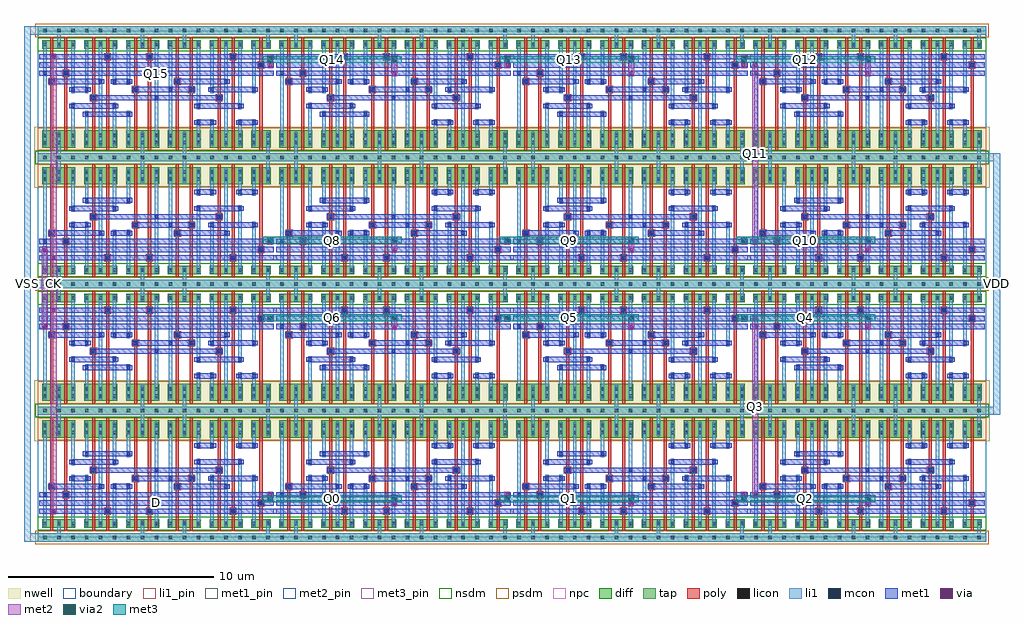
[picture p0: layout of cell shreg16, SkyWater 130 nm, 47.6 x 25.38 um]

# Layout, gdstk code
import gdstk
lib = gdstk.Library(unit=1e-6, precision=1e-09)
def R(c, l, rs):  # rectangles x0, y0, x1, y1
    for r in rs: c.add(gdstk.rectangle(r[:2], r[2:], *l))
def A(c, l, x, y, w, h, nx, ny, dx, dy):  # array of equal rectangles
    R(c, l, [(x+i*dx, y+j*dy, x+i*dx+w, y+j*dy+h) for i in range(nx) for j in range(ny)])
nwell = (64, 20)
diff = (65, 20)
tap = (65, 44)
poly = (66, 20)
licon = (66, 44)
li1_pin = (67, 16)
li1 = (67, 20)
mcon = (67, 44)
met1_pin = (68, 16)
met1 = (68, 20)
via = (68, 44)
met2_pin = (69, 16)
met2 = (69, 20)
via2 = (69, 44)
met3_pin = (70, 16)
met3 = (70, 20)
nsdm = (93, 44)
psdm = (94, 20)
npc = (95, 20)
boundary = (235, 4)

dff = lib.new_cell('dff')
R(dff, nwell, [(-0.18,4.685,11.74,6.565)])
A(dff, diff, 0.215, 0.475, 1.61, 0.42, 5, 1, 2.04, 0)
A(dff, diff, 0.215, 4.865, 1.61, 0.84, 5, 1, 2.04, 0)
R(dff, diff, [(10.415,0.475,11.345,0.895), (10.415,4.865,11.345,5.705)])
R(dff, tap, [(0,-0.205,11.56,0.205), (0,5.975,11.56,6.385)])
R(dff, poly, [(0.605,0.345,0.755,1.025), (1.285,0.345,1.435,1.025), (2.645,0.345,2.795,1.025), (3.325,0.345,3.475,1.025), (4.685,0.345,4.835,1.025), (5.365,0.345,5.515,1.025), (6.725,0.345,6.875,1.025), (7.405,0.345,7.555,1.025), (8.765,0.345,8.915,1.025), (9.445,0.345,9.595,1.025), (10.805,0.345,10.955,1.025), (0.605,1.025,0.755,4.735), (1.285,1.025,1.435,4.735), (2.645,1.025,2.795,4.735), (3.325,1.025,3.475,4.735), (4.685,1.025,4.835,4.735), (5.365,1.025,5.515,4.735), (6.725,1.025,6.875,4.735), (7.405,1.025,7.555,4.735), (8.765,1.025,8.915,4.735), (9.445,1.025,9.595,4.735), (10.805,1.025,10.955,4.735), (3.265,1.115,3.535,1.445), (5.305,1.115,5.575,1.445), (9.385,1.115,9.655,1.445), (10.745,1.515,11.015,1.845), (1.225,1.915,1.495,2.245), (0.545,2.315,0.815,2.645), (6.665,2.315,6.935,2.645), (4.625,2.715,4.895,3.045), (7.345,2.715,7.615,3.045), (2.585,3.115,2.855,3.445), (8.705,3.115,8.975,3.445), (0.605,4.735,0.755,5.835), (1.285,4.735,1.435,5.835), (2.645,4.735,2.795,5.835), (3.325,4.735,3.475,5.835), (4.685,4.735,4.835,5.835), (5.365,4.735,5.515,5.835), (6.725,4.735,6.875,5.835), (7.405,4.735,7.555,5.835), (8.765,4.735,8.915,5.835), (9.445,4.735,9.595,5.835), (10.805,4.735,10.955,5.835)])
A(dff, licon, 0.255, -0.085, 0.17, 0.17, 17, 2, 0.68, 0.685)
A(dff, licon, 0.255, 5.03, 0.17, 0.17, 17, 2, 0.68, 0.34)
A(dff, licon, 0.255, 6.095, 0.17, 0.17, 17, 1, 0.68, 0)
R(dff, licon, [(3.315,1.195,3.485,1.365), (5.355,1.195,5.525,1.365), (9.435,1.195,9.605,1.365), (10.795,1.595,10.965,1.765), (1.275,1.995,1.445,2.165), (0.595,2.395,0.765,2.565), (6.715,2.395,6.885,2.565), (4.675,2.795,4.845,2.965), (7.395,2.795,7.565,2.965), (2.635,3.195,2.805,3.365), (8.755,3.195,8.925,3.365)])
R(dff, li1_pin, [(0,-0.205,11.56,0.205), (0,5.975,11.56,6.385)])
A(dff, li1, 0.255, 0.52, 0.17, 0.33, 17, 1, 0.68, 0)
A(dff, li1, 2.975, 0.85, 0.17, 1.63, 3, 1, 0.68, 0)
A(dff, li1, 6.375, 0.85, 0.17, 2.03, 3, 1, 2.04, 0)
A(dff, li1, 2.975, 2.315, 0.17, 0.33, 3, 1, 0.68, 0)
A(dff, li1, 6.375, 2.715, 0.17, 0.33, 3, 1, 1.02, 0)
A(dff, li1, 0.255, 4.95, 0.17, 0.67, 17, 1, 0.68, 0)
R(dff, li1, [(0,-0.205,11.56,0.205), (0.935,0,1.105,0.52), (5.015,0,5.185,0.52), (7.055,0,7.225,0.52), (11.135,0,11.305,0.52), (0.255,0.85,0.425,2.08), (1.615,0.85,1.785,2.88), (2.295,0.85,2.465,2.88), (5.695,0.85,5.865,3.28), (7.735,0.85,7.905,3.68), (9.095,0.85,9.265,2.48), (9.775,0.85,9.945,3.68), (3.315,1.115,3.485,1.445), (5.355,1.115,5.525,1.445), (9.435,1.115,9.605,1.445), (10.795,1.515,10.965,1.845), (0.255,1.915,0.425,2.245), (0.255,1.915,0.425,2.245), (1.275,1.915,1.445,2.245), (0.255,2.08,0.425,4.95), (0.595,2.315,0.765,2.645), (2.975,2.315,3.145,2.645), (6.715,2.315,6.885,2.645), (9.095,2.315,9.265,2.645), (9.095,2.315,9.265,2.645), (2.975,2.48,3.145,4.95), (9.095,2.48,9.265,4.95), (1.615,2.715,1.785,3.045), (2.295,2.715,2.465,3.045), (4.675,2.715,4.845,3.045), (6.375,2.715,6.545,3.045), (10.455,2.715,10.625,3.045), (6.375,2.88,6.545,4.95), (2.635,3.115,2.805,3.445), (5.695,3.115,5.865,3.445), (5.695,3.115,5.865,3.445), (8.755,3.115,8.925,3.445), (5.695,3.28,5.865,4.95), (1.615,3.515,1.785,3.845), (3.655,3.515,3.825,3.845), (7.735,3.515,7.905,3.845), (9.775,3.515,9.945,3.845), (1.615,3.68,1.785,4.95), (3.655,3.68,3.825,4.95), (2.295,3.915,2.465,4.245), (4.335,3.915,4.505,4.245), (2.295,4.08,2.465,4.95), (4.335,4.08,4.505,4.95), (7.735,4.315,7.905,4.645), (8.415,4.315,8.585,4.645), (9.775,4.315,9.945,4.645), (10.455,4.315,10.625,4.645), (7.735,4.48,7.905,4.95), (8.415,4.48,8.585,4.95), (9.775,4.48,9.945,4.95), (10.455,4.48,10.625,4.95), (0.935,5.62,1.105,6.18), (5.015,5.62,5.185,6.18), (7.055,5.62,7.225,6.18), (11.135,5.62,11.305,6.18), (0,5.975,11.56,6.385)])
A(dff, mcon, 2.975, 2.395, 0.17, 0.17, 3, 1, 0.68, 0)
A(dff, mcon, 6.375, 2.795, 0.17, 0.17, 3, 1, 1.02, 0)
R(dff, mcon, [(3.315,1.195,3.485,1.365), (5.355,1.195,5.525,1.365), (9.435,1.195,9.605,1.365), (10.795,1.595,10.965,1.765), (0.255,1.995,0.425,2.165), (0.255,1.995,0.425,2.165), (1.275,1.995,1.445,2.165), (0.595,2.395,0.765,2.565), (2.975,2.395,3.145,2.565), (6.715,2.395,6.885,2.565), (9.095,2.395,9.265,2.565), (9.095,2.395,9.265,2.565), (1.615,2.795,1.785,2.965), (2.295,2.795,2.465,2.965), (4.675,2.795,4.845,2.965), (6.375,2.795,6.545,2.965), (10.455,2.795,10.625,2.965), (2.635,3.195,2.805,3.365), (5.695,3.195,5.865,3.365), (5.695,3.195,5.865,3.365), (8.755,3.195,8.925,3.365), (1.615,3.595,1.785,3.765), (3.655,3.595,3.825,3.765), (7.735,3.595,7.905,3.765), (9.775,3.595,9.945,3.765), (2.295,3.995,2.465,4.165), (4.335,3.995,4.505,4.165), (7.735,4.395,7.905,4.565), (8.415,4.395,8.585,4.565), (9.775,4.395,9.945,4.565), (10.455,4.395,10.625,4.565)])
A(dff, met1_pin, 0.07, 1.15, 11.42, 0.26, 1, 3, 0, 0.4)
A(dff, met1, 0.07, 1.15, 11.42, 0.26, 1, 3, 0, 0.4)
A(dff, met1, 2.875, 2.365, 0.37, 0.23, 3, 1, 0.68, 0)
A(dff, met1, 6.275, 2.765, 0.37, 0.23, 3, 1, 1.02, 0)
R(dff, met1, [(3.215,1.165,3.585,1.395), (5.255,1.165,5.625,1.395), (9.335,1.165,9.705,1.395), (10.695,1.565,11.065,1.795), (0.155,1.965,0.525,2.195), (0.155,1.965,0.525,2.195), (1.175,1.965,1.545,2.195), (0.68,2.35,3.06,2.61), (3.74,2.35,4.42,2.61), (6.8,2.35,9.18,2.61), (0.495,2.365,0.865,2.595), (2.875,2.365,3.245,2.595), (6.615,2.365,6.985,2.595), (8.995,2.365,9.365,2.595), (8.995,2.365,9.365,2.595), (1.7,2.75,2.38,3.01), (4.76,2.75,7.48,3.01), (8.5,2.75,10.54,3.01), (1.515,2.765,1.885,2.995), (2.195,2.765,2.565,2.995), (4.575,2.765,4.945,2.995), (6.275,2.765,6.645,2.995), (10.355,2.765,10.725,2.995), (2.72,3.15,8.84,3.41), (2.535,3.165,2.905,3.395), (5.595,3.165,5.965,3.395), (5.595,3.165,5.965,3.395), (8.655,3.165,9.025,3.395), (1.7,3.55,3.74,3.81), (7.82,3.55,9.86,3.81), (1.515,3.565,1.885,3.795), (3.555,3.565,3.925,3.795), (7.635,3.565,8.005,3.795), (9.675,3.565,10.045,3.795), (2.38,3.95,4.42,4.21), (2.195,3.965,2.565,4.195), (4.235,3.965,4.605,4.195), (7.82,4.35,8.5,4.61), (9.86,4.35,10.54,4.61), (7.635,4.365,8.005,4.595), (8.315,4.365,8.685,4.595), (9.675,4.365,10.045,4.595), (10.355,4.365,10.725,4.595)])
R(dff, nsdm, [(0,0.35,11.56,1.02), (-0.125,5.85,11.685,6.51)])
R(dff, psdm, [(-0.125,-0.33,11.685,0.33), (0,4.74,11.56,5.83)])
R(dff, npc, [(3.215,1.095,3.585,1.465), (5.255,1.095,5.625,1.465), (9.335,1.095,9.705,1.465), (10.695,1.495,11.065,1.865), (1.175,1.895,1.545,2.265), (0.495,2.295,0.865,2.665), (6.615,2.295,6.985,2.665), (4.575,2.695,4.945,3.065), (7.295,2.695,7.665,3.065), (2.535,3.095,2.905,3.465), (8.655,3.095,9.025,3.465)])
R(dff, boundary, [(0,0,11.56,6.18)])
dff.add(gdstk.Label('VSS', (5.78,0), layer=67, texttype=16))
dff.add(gdstk.Label('VDD', (5.78,6.18), layer=67, texttype=16))
dff.add(gdstk.Label('VSS', (5.78,0), layer=67, texttype=5))
dff.add(gdstk.Label('VDD', (5.78,6.18), layer=67, texttype=5))
dff.add(gdstk.Label('Q', (5.78,2.08), layer=68, texttype=16))
dff.add(gdstk.Label('CK', (5.78,1.28), layer=68, texttype=16))
dff.add(gdstk.Label('D', (5.78,1.68), layer=68, texttype=16))
dff.add(gdstk.Label('Q', (5.78,2.08), layer=68, texttype=5))
dff.add(gdstk.Label('CK', (5.78,1.28), layer=68, texttype=5))
dff.add(gdstk.Label('D', (5.78,1.68), layer=68, texttype=5))

shreg16 = lib.new_cell('shreg16')
R(shreg16, li1_pin, [(-0.68,-0.205,-0.34,24.925), (46.58,5.975,46.92,18.745)])
A(shreg16, li1, -0.68, -0.205, 0.68, 0.41, 1, 3, 0, 12.36)
R(shreg16, li1, [(-0.68,-0.205,-0.34,24.925), (46.24,5.975,46.92,6.385), (46.58,5.975,46.92,18.745), (46.24,18.335,46.92,18.745)])
R(shreg16, met1_pin, [(0.07,1.55,11.49,1.81), (0.07,22.51,11.49,22.77)])
A(shreg16, met1, 11.49, 1.15, 0.14, 0.26, 3, 2, 11.56, 9.8)
A(shreg16, met1, 17.22, 1.55, 0.32, 0.26, 3, 2, 11.55, 8.6)
A(shreg16, met1, 11.17, 1.95, 0.32, 0.26, 3, 2, 11.55, 8.6)
A(shreg16, met1, 11.49, 13.51, 0.14, 0.26, 3, 2, 11.56, 9.8)
A(shreg16, met1, 17.22, 13.91, 0.32, 0.26, 3, 2, 11.55, 8.6)
A(shreg16, met1, 11.17, 14.31, 0.32, 0.26, 3, 2, 11.55, 8.6)
R(shreg16, met1, [(0.61,1.15,0.93,1.41), (34.82,1.95,35.14,2.21), (0.17,10.15,0.49,10.41), (34.82,10.55,35.14,10.81), (0.61,10.95,0.93,11.21), (0.61,13.51,0.93,13.77), (0.17,13.91,0.49,14.17), (34.82,14.31,35.14,14.57), (34.82,22.91,35.14,23.17), (0.61,23.31,0.93,23.57)])
A(shreg16, via, 17.305, 1.605, 0.15, 0.15, 3, 2, 11.55, 8.6)
A(shreg16, via, 11.255, 2.005, 0.15, 0.15, 3, 2, 11.55, 8.6)
A(shreg16, via, 17.305, 13.965, 0.15, 0.15, 3, 2, 11.55, 8.6)
A(shreg16, via, 11.255, 14.365, 0.15, 0.15, 3, 2, 11.55, 8.6)
R(shreg16, via, [(0.695,1.205,0.845,1.355), (34.905,2.005,35.055,2.155), (0.255,10.205,0.405,10.355), (34.905,10.605,35.055,10.755), (0.695,11.005,0.845,11.155), (0.695,13.565,0.845,13.715), (0.255,13.965,0.405,14.115), (34.905,14.365,35.055,14.515), (34.905,22.965,35.055,23.115), (0.695,23.365,0.845,23.515)])
R(shreg16, met2_pin, [(0.63,1.28,0.91,23.44), (34.84,2.08,35.12,10.68), (0.19,10.28,0.47,14.04), (34.84,14.44,35.12,23.04)])
A(shreg16, met2, 17.25, 1.52, 0.26, 0.32, 3, 2, 11.55, 8.6)
A(shreg16, met2, 17.24, 1.68, 0.28, 0.21, 3, 1, 11.55, 0)
A(shreg16, met2, 11.19, 1.89, 0.28, 0.19, 3, 1, 11.55, 0)
A(shreg16, met2, 11.2, 1.92, 0.26, 0.32, 3, 2, 11.55, 8.6)
A(shreg16, met2, 17.24, 10.28, 0.28, 0.43, 3, 1, 11.55, 0)
A(shreg16, met2, 11.19, 10.68, 0.28, 0.03, 3, 1, 11.55, 0)
A(shreg16, met2, 17.25, 13.88, 0.26, 0.32, 3, 2, 11.55, 8.6)
A(shreg16, met2, 17.24, 14.04, 0.28, 0.45, 3, 1, 11.55, 0)
A(shreg16, met2, 11.2, 14.28, 0.26, 0.32, 3, 2, 11.55, 8.6)
A(shreg16, met2, 11.19, 14.44, 0.28, 0.05, 3, 1, 11.55, 0)
A(shreg16, met2, 17.24, 22.64, 0.28, 0.67, 3, 1, 11.55, 0)
A(shreg16, met2, 11.19, 23.04, 0.28, 0.27, 3, 1, 11.55, 0)
R(shreg16, met2, [(0.64,1.12,0.9,1.44), (0.63,1.28,0.91,23.44), (11.19,1.705,11.47,2.075), (17.24,1.705,17.52,2.075), (22.74,1.705,23.02,2.075), (28.79,1.705,29.07,2.075), (34.29,1.705,34.57,2.075), (40.34,1.705,40.62,2.075), (34.85,1.92,35.11,2.24), (34.84,2.08,35.12,10.68), (0.2,10.12,0.46,10.44), (0.19,10.28,0.47,14.04), (34.85,10.52,35.11,10.84), (11.19,10.525,11.47,10.895), (17.24,10.525,17.52,10.895), (22.74,10.525,23.02,10.895), (28.79,10.525,29.07,10.895), (34.29,10.525,34.57,10.895), (40.34,10.525,40.62,10.895), (0.64,10.92,0.9,11.24), (0.64,13.48,0.9,13.8), (0.2,13.88,0.46,14.2), (34.85,14.28,35.11,14.6), (11.19,14.305,11.47,14.675), (17.24,14.305,17.52,14.675), (22.74,14.305,23.02,14.675), (28.79,14.305,29.07,14.675), (34.29,14.305,34.57,14.675), (40.34,14.305,40.62,14.675), (34.84,14.44,35.12,23.04), (34.85,22.88,35.11,23.2), (11.19,23.125,11.47,23.495), (17.24,23.125,17.52,23.495), (22.74,23.125,23.02,23.495), (28.79,23.125,29.07,23.495), (34.29,23.125,34.57,23.495), (40.34,23.125,40.62,23.495), (0.64,23.28,0.9,23.6)])
R(shreg16, via2, [(11.23,1.79,11.43,1.99), (17.28,1.79,17.48,1.99), (22.78,1.79,22.98,1.99), (28.83,1.79,29.03,1.99), (34.33,1.79,34.53,1.99), (40.38,1.79,40.58,1.99), (11.23,10.61,11.43,10.81), (17.28,10.61,17.48,10.81), (22.78,10.61,22.98,10.81), (28.83,10.61,29.03,10.81), (34.33,10.61,34.53,10.81), (40.38,10.61,40.58,10.81), (11.23,14.39,11.43,14.59), (17.28,14.39,17.48,14.59), (22.78,14.39,22.98,14.59), (28.83,14.39,29.03,14.59), (34.33,14.39,34.53,14.59), (40.38,14.39,40.58,14.59), (11.23,23.21,11.43,23.41), (17.28,23.21,17.48,23.41), (22.78,23.21,22.98,23.41), (28.83,23.21,29.03,23.41), (34.33,23.21,34.53,23.41), (40.38,23.21,40.58,23.41)])
A(shreg16, met3_pin, 11.33, 1.725, 6.05, 0.33, 3, 2, 11.55, 8.82)
A(shreg16, met3_pin, 11.33, 14.325, 6.05, 0.33, 3, 2, 11.55, 8.82)
A(shreg16, met3, 11.33, 1.725, 6.05, 0.33, 3, 2, 11.55, 8.82)
A(shreg16, met3, 11.33, 14.325, 6.05, 0.33, 3, 2, 11.55, 8.82)
R(shreg16, met3, [(10.965,1.725,11.695,2.055), (17.015,1.725,17.745,2.055), (22.515,1.725,23.245,2.055), (28.565,1.725,29.295,2.055), (34.065,1.725,34.795,2.055), (40.115,1.725,40.845,2.055), (10.965,10.545,11.695,10.875), (17.015,10.545,17.745,10.875), (22.515,10.545,23.245,10.875), (28.565,10.545,29.295,10.875), (34.065,10.545,34.795,10.875), (40.115,10.545,40.845,10.875), (10.965,14.325,11.695,14.655), (17.015,14.325,17.745,14.655), (22.515,14.325,23.245,14.655), (28.565,14.325,29.295,14.655), (34.065,14.325,34.795,14.655), (40.115,14.325,40.845,14.655), (10.965,23.145,11.695,23.475), (17.015,23.145,17.745,23.475), (22.515,23.145,23.245,23.475), (28.565,23.145,29.295,23.475), (34.065,23.145,34.795,23.475), (40.115,23.145,40.845,23.475)])
shreg16.add(gdstk.Reference(dff, (0,0)))
shreg16.add(gdstk.Reference(dff, (11.56,0)))
shreg16.add(gdstk.Reference(dff, (23.12,0)))
shreg16.add(gdstk.Reference(dff, (34.68,0)))
shreg16.add(gdstk.Reference(dff, (0,12.36), x_reflection=True))
shreg16.add(gdstk.Reference(dff, (11.56,12.36), x_reflection=True))
shreg16.add(gdstk.Reference(dff, (23.12,12.36), x_reflection=True))
shreg16.add(gdstk.Reference(dff, (34.68,12.36), x_reflection=True))
shreg16.add(gdstk.Reference(dff, (0,12.36)))
shreg16.add(gdstk.Reference(dff, (11.56,12.36)))
shreg16.add(gdstk.Reference(dff, (23.12,12.36)))
shreg16.add(gdstk.Reference(dff, (34.68,12.36)))
shreg16.add(gdstk.Reference(dff, (0,24.72), x_reflection=True))
shreg16.add(gdstk.Reference(dff, (11.56,24.72), x_reflection=True))
shreg16.add(gdstk.Reference(dff, (23.12,24.72), x_reflection=True))
shreg16.add(gdstk.Reference(dff, (34.68,24.72), x_reflection=True))
shreg16.add(gdstk.Label('VSS', (-0.51,12.36), layer=67, texttype=16))
shreg16.add(gdstk.Label('VDD', (46.75,12.36), layer=67, texttype=16))
shreg16.add(gdstk.Label('VSS', (-0.51,12.36), layer=67, texttype=5))
shreg16.add(gdstk.Label('VDD', (46.75,12.36), layer=67, texttype=5))
shreg16.add(gdstk.Label('D', (5.78,1.68), layer=68, texttype=16))
shreg16.add(gdstk.Label('Q15', (5.78,22.64), layer=68, texttype=16))
shreg16.add(gdstk.Label('D', (5.78,1.68), layer=68, texttype=5))
shreg16.add(gdstk.Label('Q15', (5.78,22.64), layer=68, texttype=5))
shreg16.add(gdstk.Label('Q11', (34.98,18.74), layer=69, texttype=16))
shreg16.add(gdstk.Label('Q3', (34.98,6.38), layer=69, texttype=16))
shreg16.add(gdstk.Label('Q7', (0.33,12.16), layer=69, texttype=16))
shreg16.add(gdstk.Label('CK', (0.77,12.36), layer=69, texttype=16))
shreg16.add(gdstk.Label('Q11', (34.98,18.74), layer=69, texttype=5))
shreg16.add(gdstk.Label('Q3', (34.98,6.38), layer=69, texttype=5))
shreg16.add(gdstk.Label('Q7', (0.33,12.16), layer=69, texttype=5))
shreg16.add(gdstk.Label('CK', (0.77,12.36), layer=69, texttype=5))
shreg16.add(gdstk.Label('Q0', (14.355,1.89), layer=70, texttype=16))
shreg16.add(gdstk.Label('Q1', (25.905,1.89), layer=70, texttype=16))
shreg16.add(gdstk.Label('Q10', (37.455,14.49), layer=70, texttype=16))
shreg16.add(gdstk.Label('Q12', (37.455,23.31), layer=70, texttype=16))
shreg16.add(gdstk.Label('Q13', (25.905,23.31), layer=70, texttype=16))
shreg16.add(gdstk.Label('Q14', (14.355,23.31), layer=70, texttype=16))
shreg16.add(gdstk.Label('Q2', (37.455,1.89), layer=70, texttype=16))
shreg16.add(gdstk.Label('Q4', (37.455,10.71), layer=70, texttype=16))
shreg16.add(gdstk.Label('Q5', (25.905,10.71), layer=70, texttype=16))
shreg16.add(gdstk.Label('Q6', (14.355,10.71), layer=70, texttype=16))
shreg16.add(gdstk.Label('Q8', (14.355,14.49), layer=70, texttype=16))
shreg16.add(gdstk.Label('Q9', (25.905,14.49), layer=70, texttype=16))
shreg16.add(gdstk.Label('Q0', (14.355,1.89), layer=70, texttype=5))
shreg16.add(gdstk.Label('Q1', (25.905,1.89), layer=70, texttype=5))
shreg16.add(gdstk.Label('Q10', (37.455,14.49), layer=70, texttype=5))
shreg16.add(gdstk.Label('Q12', (37.455,23.31), layer=70, texttype=5))
shreg16.add(gdstk.Label('Q13', (25.905,23.31), layer=70, texttype=5))
shreg16.add(gdstk.Label('Q14', (14.355,23.31), layer=70, texttype=5))
shreg16.add(gdstk.Label('Q2', (37.455,1.89), layer=70, texttype=5))
shreg16.add(gdstk.Label('Q4', (37.455,10.71), layer=70, texttype=5))
shreg16.add(gdstk.Label('Q5', (25.905,10.71), layer=70, texttype=5))
shreg16.add(gdstk.Label('Q6', (14.355,10.71), layer=70, texttype=5))
shreg16.add(gdstk.Label('Q8', (14.355,14.49), layer=70, texttype=5))
shreg16.add(gdstk.Label('Q9', (25.905,14.49), layer=70, texttype=5))

lib.write_gds('shreg16.gds')
